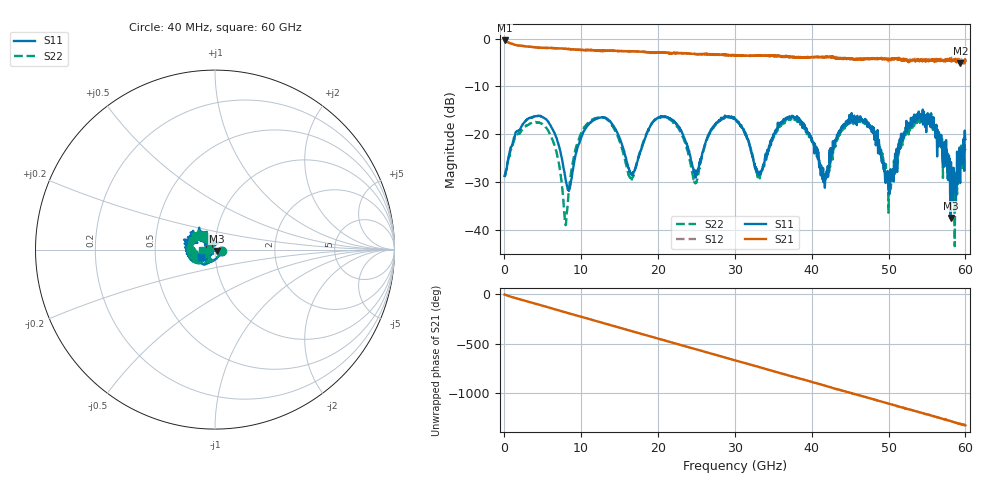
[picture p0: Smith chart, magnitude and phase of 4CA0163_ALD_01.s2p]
! File created by 'SoftPlot +Plus+ Measurement Management Software'
! SoftPlot +Plus+ Measurement Management Software
! Start 40.000000 MHz  Stop 60.000000 GHz  Points 1601
# MHZ S RI R 50
! S-Parameter data, F S11 S21 S12 S22
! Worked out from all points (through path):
!   1601 points, 40 MHz to 60 GHz, reference 50 ohm
!   highest |S21| = -0.37 dB at 40 MHz (marker M1); lowest = -5.2 dB at 59.36 GHz (marker M2)
!   group delay of S21, straight-line fit = 61 ps
!   lowest |S11| = -37.6 dB at 58.09 GHz (marker M3), VSWR 1.03, Z = 51.1 - j0.703 ohm
!   |S11| at or under -10 dB: start of sweep to end of sweep
!   |S22| runs from -43.5 to -16.1 dB; largest |S21 - S12| = 0.069
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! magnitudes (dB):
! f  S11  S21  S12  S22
! 40 MHz  -28.8  -0.4  -0.4  -28.6
! 4.949 GHz  -16.4  -1.9  -1.9  -17.9
! 6.748 GHz  -20.6  -2.0  -2.0  -23.5
! 7.985 GHz  -29.6  -2.1  -2.1  -39.1
! 10.05 GHz  -20.5  -2.4  -2.4  -19.7
! 13.42 GHz  -16.8  -2.5  -2.5  -16.9
! 16.53 GHz  -28.4  -2.6  -2.6  -29.5
! 20.05 GHz  -16.5  -2.9  -2.8  -16.5
! 24.85 GHz  -29.0  -3.2  -3.2  -30.2
! 27.1 GHz  -18.6  -3.3  -3.2  -18.8
! 30.02 GHz  -16.9  -3.4  -3.4  -16.9
! 33.13 GHz  -28.5  -3.5  -3.5  -28.5
! 36.62 GHz  -16.8  -3.8  -3.5  -17.1
! 40.03 GHz  -20.9  -3.8  -3.8  -21.2
! 41.67 GHz  -28.8  -3.9  -3.9  -28.5
! 43.96 GHz  -18.3  -4.3  -4.1  -19.3
! 46.77 GHz  -17.3  -4.2  -4.1  -17.4
! 50.03 GHz  -31.8  -4.3  -4.2  -32.5
! 54.15 GHz  -16.2  -4.6  -4.5  -17.1
! 58.09 GHz  -37.6  -4.6  -4.9  -30.7
! 59.36 GHz  -26.3  -5.2  -4.6  -26.3
! 60 GHz  -21.1  -4.7  -5.0  -23.0
